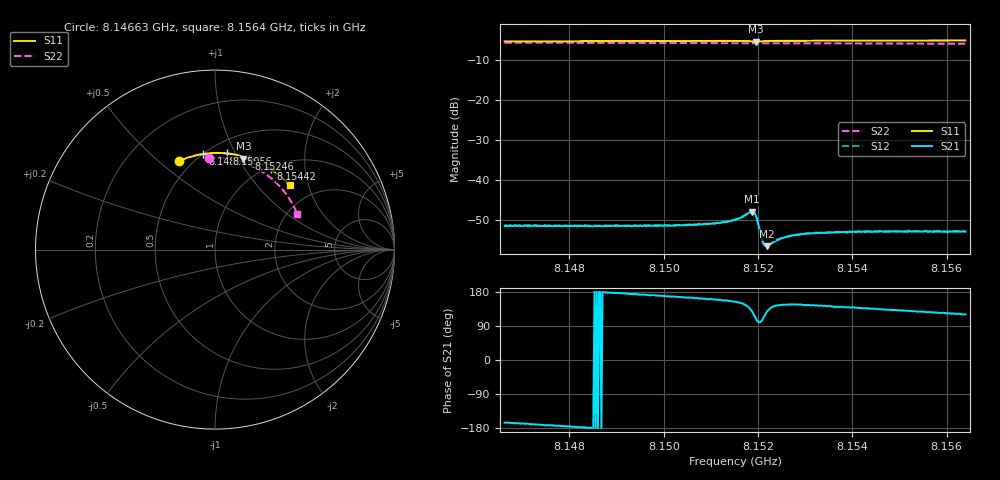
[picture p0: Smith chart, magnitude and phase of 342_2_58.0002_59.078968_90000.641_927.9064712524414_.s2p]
#  HZ  S  RI  R  50.00
! Rohde & Schwarz Vector Network Analyzer
! Rohde-Schwarz,ZNB20-2Port,1311601062101988,3.16
! Created: UTC 3/21/2024, 1:05:39 AM
! freq[Hz]  re:S11  im:S11  re:S21  im:S21  re:S12  im:S12  re:S22  im:S22
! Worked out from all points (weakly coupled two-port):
!   401 points, 8.14663 GHz to 8.1564 GHz, reference 50 ohm
!   highest |S21| = -48.06 dB at 8.15188 GHz (marker M1); lowest = -56.7 dB at 8.15219 GHz (marker M2)
!   lowest |S11| = -5.5 dB at 8.15195 GHz (marker M3), VSWR 3.26, Z = 37.2 + j52.4 ohm
!   |S11| at or under -10 dB: nowhere
!   |S22| runs from -6.0 to -5.8 dB; largest |S21 - S12| = 0.00014
!   S11 on the Smith chart (normalised r, x): 8.14663 GHz: 0.42, +0.59; 8.1486 GHz: 0.50, +0.75; 8.15056 GHz: 0.61, +0.93; 8.15246 GHz: 0.77, +1.11; 8.15442 GHz: 1.05, +1.33; 8.1564 GHz: 1.49, +1.52
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8.146625e9  -0.2013 0.4937  -0.00253 -0.000674  -0.00262 -0.000621  -0.0345 0.5128
8.148262e9  -0.0924 0.5282  -0.00262 -0.000123  -0.00263 -2.98e-05  0.0721 0.507
8.148604e9  -0.0689 0.5323  -0.00262 -2.78e-06  -0.00266 3.91e-05  0.0941 0.503
8.149898e9  0.0209 0.5385  -0.00261 0.000485  -0.00262 0.000529  0.1741 0.4794
8.150558e9  0.067 0.5358  -0.00261 0.00073  -0.00264 0.000756  0.213 0.4623
8.151144e9  0.1078 0.53  -0.00266 0.00103  -0.0027 0.00108  0.2463 0.4446
8.15151e9  0.1338 0.524  -0.0028 0.00138  -0.00283 0.00143  0.2661 0.4322
8.151828e9  0.1565 0.513  -0.00278 0.00273  -0.00278 0.00278  0.2828 0.4206
8.151877e9  0.1583 0.5097  -0.0024 0.00314  -0.00233 0.00321  0.2852 0.4188
8.151926e9  0.1585 0.5069  -0.00168 0.00342  -0.00165 0.00346  0.2876 0.4169
8.15195e9  0.1578 0.5064  -0.00125 0.00334  -0.00119 0.00337  0.2887 0.416
8.151999e9  0.1575 0.5075  -0.000548 0.00278  -0.0005 0.00286  0.2912 0.4145
8.152072e9  0.1608 0.5106  -0.000414 0.00183  -0.000414 0.00182  0.295 0.4117
8.152097e9  0.1627 0.5112  -0.000507 0.0016  -0.0005 0.00163  0.2964 0.4108
8.152145e9  0.1667 0.5119  -0.000714 0.00131  -0.000712 0.00134  0.2986 0.409
8.152194e9  0.1706 0.5118  -0.00092 0.00115  -0.000899 0.00118  0.301 0.4072
8.152463e9  0.1907 0.5074  -0.00149 0.00104  -0.00148 0.00105  0.3146 0.3965
8.152732e9  0.2093 0.5011  -0.00168 0.00109  -0.00164 0.00113  0.3274 0.3854
8.153147e9  0.2361 0.4898  -0.00173 0.00126  -0.00173 0.00127  0.3465 0.3674
8.154417e9  0.313 0.447  -0.00157 0.00155  -0.00158 0.00159  0.3984 0.3067
8.154783e9  0.3338 0.4324  -0.0015 0.00164  -0.00154 0.00169  0.4115 0.2878
8.156395e9  0.4156 0.3577  -0.00113 0.00193  -0.00112 0.00195  0.4579 0.1993
